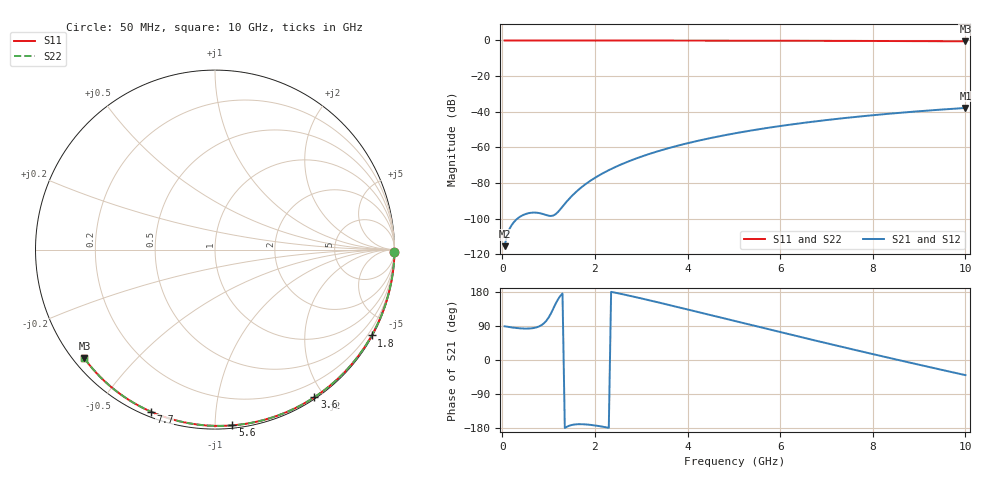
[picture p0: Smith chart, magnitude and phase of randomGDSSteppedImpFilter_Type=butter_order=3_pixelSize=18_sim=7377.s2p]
! freq	dB(S11)	phase(S11)	dB(S12)	phase(S12)
!  dB(S21)	phase(S21)	dB(S22)	phase(S22)
!S-par simulation data
#  GHz  S  DB  R 50
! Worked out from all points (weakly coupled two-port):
!   200 points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, 50 MHz to 10 GHz, reference 50 ohm
!   highest |S21| = -37.89 dB at 10 GHz (marker M1); lowest = -115.5 dB at 50 MHz (marker M2)
!   lowest |S11| = -0.5 dB at 10 GHz (marker M3), VSWR 36.67, Z = 1.54 - j18.1 ohm
!   |S11| at or under -10 dB: nowhere
!   |S22| runs from -0.5 to 0.0 dB; largest |S21 - S12| = 0
!   S11 on the Smith chart (normalised r, x): 50 MHz: open; 1.8 GHz: 0.03, -3.91; 3.6 GHz: 0.02, -1.88; 5.6 GHz: 0.02, -1.10; 7.7 GHz: 0.02, -0.68; 10 GHz: 0.03, -0.36
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0.05  -0.00 -0.8  -115.45 89.0  -115.45 89.0  -0.00 -0.8
0.45  -0.01 -7.3  -97.97 83.0  -97.97 83.0  -0.01 -7.3
0.9  -0.02 -14.5  -97.57 97.0  -97.57 97.0  -0.02 -14.5
1.75  -0.04 -27.9  -81.58 -169.6  -81.58 -169.6  -0.04 -27.9
1.8  -0.04 -28.7  -80.60 -170.0  -80.60 -170.0  -0.04 -28.7
1.85  -0.04 -29.5  -79.67 -170.5  -79.67 -170.5  -0.04 -29.5
2.05  -0.04 -32.6  -76.33 -173.6  -76.33 -173.6  -0.04 -32.6
2.25  -0.05 -35.7  -73.45 -177.8  -73.45 -177.8  -0.05 -35.7
2.55  -0.05 -40.3  -69.76 174.8  -69.76 174.8  -0.05 -40.3
2.95  -0.06 -46.4  -65.68 164.0  -65.68 164.0  -0.06 -46.4
3.4  -0.07 -53.1  -61.86 151.1  -61.86 151.1  -0.07 -53.1
3.6  -0.08 -56.1  -60.37 145.2  -60.37 145.2  -0.08 -56.1
3.9  -0.08 -60.5  -58.32 136.3  -58.32 136.3  -0.08 -60.5
4.3  -0.09 -66.2  -55.87 124.4  -55.87 124.4  -0.09 -66.2
5.05  -0.12 -76.8  -51.99 102.0  -51.99 102.0  -0.12 -76.8
5.6  -0.14 -84.3  -49.59 85.5  -49.59 85.5  -0.14 -84.3
6.15  -0.16 -91.7  -47.48 69.2  -47.48 69.2  -0.16 -91.7
6.7  -0.19 -98.9  -45.61 53.1  -45.61 53.1  -0.19 -98.9
7.7  -0.26 -111.7  -42.72 24.1  -42.72 24.1  -0.26 -111.7
8.35  -0.31 -119.8  -41.13 5.7  -41.13 5.7  -0.31 -119.8
9.2  -0.39 -130.4  -39.33 -18.0  -39.33 -18.0  -0.39 -130.4
10  -0.47 -140.2  -37.89 -39.9  -37.89 -39.9  -0.47 -140.2
